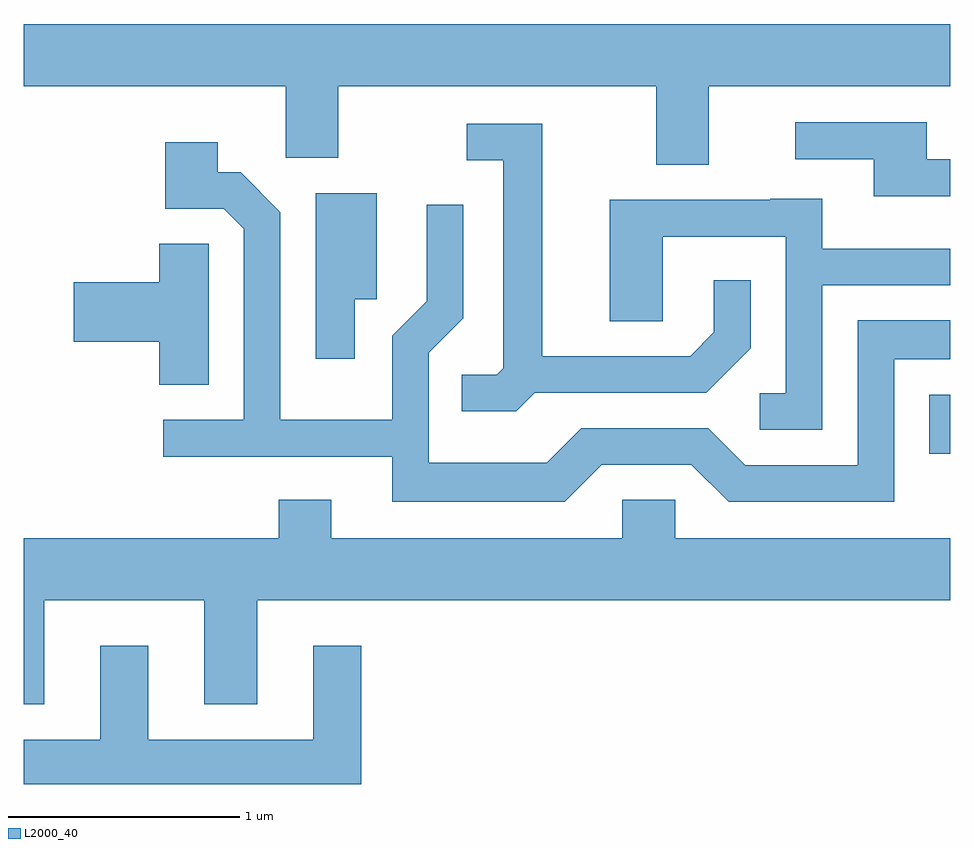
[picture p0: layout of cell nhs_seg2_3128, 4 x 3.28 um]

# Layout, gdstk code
import gdstk
lib = gdstk.Library(unit=1e-6, precision=1e-09)
def R(c, l, rs):  # rectangles x0, y0, x1, y1
    for r in rs: c.add(gdstk.rectangle(r[:2], r[2:], *l))
def P(c, l, *ps):  # polygons
    for p in ps: c.add(gdstk.Polygon(p, *l))
L2000_40 = (2000, 40)

nhs_seg2_3128 = lib.new_cell('nhs_seg2_3128')
R(nhs_seg2_3128, L2000_40, [(281.521,991.228,281.611,991.484)])
P(nhs_seg2_3128, L2000_40, [(280.569,992.816),(281.611,992.816),(281.611,993.084),(277.611,993.084),(277.611,992.816),(278.741,992.816),(278.741,992.506),(278.969,992.506),(278.969,992.816),(280.341,992.816),(280.341,992.476),(280.569,992.476)],
  [(281.611,992.499),(281.509,992.499),(281.509,992.659),(280.943,992.659),(280.943,992.501),(281.281,992.501),(281.281,992.341),(281.611,992.341)],
  [(279.817,991.491),(280.557,991.491),(280.749,991.684),(280.749,991.978),(280.591,991.978),(280.591,991.752),(280.489,991.649),(279.849,991.649),(279.849,992.654),(279.523,992.654),(279.523,992.496),(279.681,992.496),(279.681,991.597),(279.654,991.569),(279.503,991.569),(279.503,991.411),(279.737,991.411)],
  [(280.107,991.181),(280.494,991.181),(280.654,991.021),(281.369,991.021),(281.369,991.636),(281.611,991.636),(281.611,991.804),(281.211,991.804),(281.211,991.179),(280.727,991.179),(280.567,991.339),(280.019,991.339),(279.869,991.189),(279.359,991.189),(279.359,991.664),(279.509,991.814),(279.509,992.303),(279.351,992.303),(279.351,991.887),(279.201,991.737),(279.201,991.374),(278.719,991.374),(278.719,992.272),(278.547,992.444),(278.449,992.444),(278.449,992.574),(278.221,992.574),(278.221,992.286),(278.474,992.286),(278.561,992.199),(278.561,991.374),(278.213,991.374),(278.213,991.216),(279.201,991.216),(279.201,991.021),(279.947,991.021)],
  [(279.039,991.896),(279.134,991.896),(279.134,992.354),(278.871,992.354),(278.871,991.638),(279.039,991.638)],
  [(281.059,991.956),(281.611,991.956),(281.611,992.114),(281.059,992.114),(281.059,992.329),(280.835,992.329),(280.835,992.324),(280.141,992.324),(280.141,991.801),(280.369,991.801),(280.369,992.166),(280.901,992.166),(280.901,991.489),(280.788,991.489),(280.788,991.331),(281.059,991.331)],
  [(278.409,992.134),(278.196,992.134),(278.196,991.969),(277.826,991.969),(277.826,991.711),(278.196,991.711),(278.196,991.526),(278.409,991.526)],
  [(277.699,990.596),(278.391,990.596),(278.391,990.146),(278.619,990.146),(278.619,990.596),(281.611,990.596),(281.611,990.864),(280.424,990.864),(280.424,991.029),(280.196,991.029),(280.196,990.864),(278.939,990.864),(278.939,991.029),(278.711,991.029),(278.711,990.864),(277.611,990.864),(277.611,990.146),(277.699,990.146)],
  [(279.069,990.399),(278.861,990.399),(278.861,989.994),(278.149,989.994),(278.149,990.399),(277.941,990.399),(277.941,989.994),(277.611,989.994),(277.611,989.802),(279.069,989.802)])

lib.write_gds('nhs_seg2_3128.gds')
